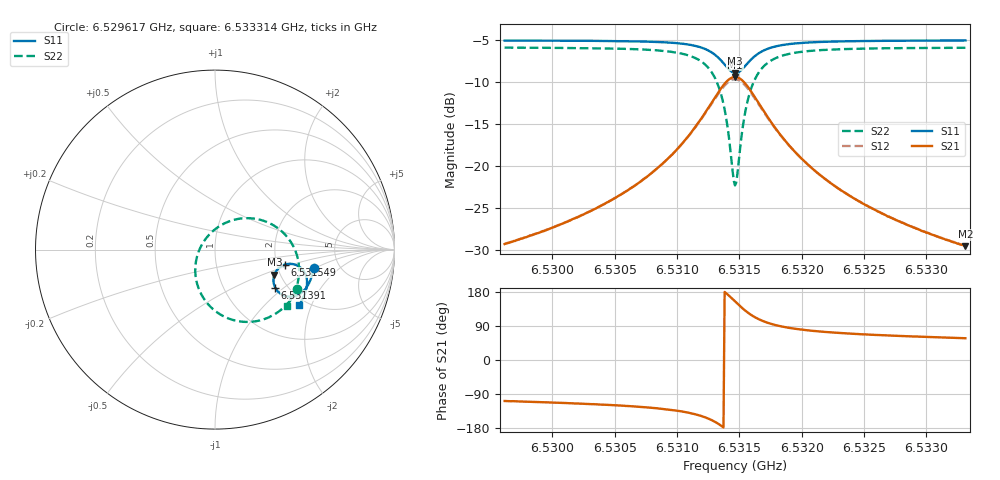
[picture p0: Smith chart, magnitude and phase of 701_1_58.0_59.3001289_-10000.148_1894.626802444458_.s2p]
#  HZ  S  RI  R  50.00
! Rohde & Schwarz Vector Network Analyzer
! Rohde-Schwarz,ZNB20-2Port,1311601062101988,3.16
! Created: UTC 3/21/2024, 1:21:46 AM
! freq[Hz]  re:S11  im:S11  re:S21  im:S21  re:S12  im:S12  re:S22  im:S22
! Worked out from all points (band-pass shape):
!   401 points, 6.529617 GHz to 6.533314 GHz, reference 50 ohm
!   highest |S21| = -9.36 dB at 6.531465 GHz (marker M1); lowest = -29.5 dB at 6.533314 GHz (marker M2)
!   |S21| within 3 dB of the highest: 6.531281 GHz to 6.53165 GHz (369.8 kHz wide, 0.00566 % of centre)
!   lowest |S11| = -8.9 dB at 6.531465 GHz (marker M3), VSWR 2.12, Z = 93.3 - j29.9 ohm
!   |S11| at or under -10 dB: nowhere
!   |S22| runs from -22.3 to -5.9 dB; largest |S21 - S12| = 0.015
!   S11 on the Smith chart (normalised r, x): 6.529617 GHz: 3.24, -0.96; 6.531391 GHz: 1.73, -0.87; 6.531549 GHz: 2.21, -0.44; 6.533314 GHz: 1.82, -1.64
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6.5296168e9  0.5511 -0.1012  -0.0108 -0.0328  -0.0115 -0.0327  0.4586 -0.2206
6.5302361e9  0.5374 -0.1536  -0.0219 -0.0463  -0.0231 -0.0458  0.4219 -0.2789
6.5305873e9  0.5236 -0.1874  -0.0367 -0.0606  -0.0382 -0.0597  0.3837 -0.3215
6.5308553e9  0.5047 -0.2178  -0.0612 -0.0785  -0.0634 -0.0765  0.3285 -0.3626
6.5310679e9  0.4741 -0.2461  -0.1063 -0.0973  -0.1093 -0.0934  0.238 -0.3973
6.5312343e9  0.4213 -0.263  -0.1888 -0.0987  -0.1906 -0.0904  0.0885 -0.3885
6.5313267e9  0.3708 -0.2496  -0.266 -0.0592  -0.2633 -0.0478  -0.0369 -0.306
6.5313637e9  0.349 -0.2316  -0.2975 -0.0222  -0.2913 -0.0105  -0.0822 -0.2376
6.5313914e9  0.3355 -0.2118  -0.3157 0.0159  -0.3066 0.0266  -0.1044 -0.1706
6.5314469e9  0.3265 -0.1585  -0.3198 0.1122  -0.3065 0.1172  -0.0918 -0.0127
6.5314654e9  0.3311 -0.1396  -0.3083 0.1446  -0.2947 0.1474  -0.0669 0.0382
6.5314838e9  0.3396 -0.1223  -0.2907 0.1743  -0.2776 0.1747  -0.0326 0.0832
6.5315208e9  0.3652 -0.0953  -0.2418 0.2191  -0.2312 0.216  0.055 0.1475
6.5315485e9  0.3883 -0.0838  -0.2001 0.2378  -0.1919 0.2335  0.1269 0.1707
6.5315763e9  0.4112 -0.0794  -0.1599 0.2448  -0.1538 0.24  0.1945 0.1749
6.5316132e9  0.4381 -0.0816  -0.1134 0.241  -0.1093 0.2367  0.2719 0.1601
6.5317057e9  0.4821 -0.1055  -0.0387 0.2042  -0.0371 0.202  0.392 0.082
6.5318443e9  0.5069 -0.145  0.00478 0.1493  0.00602 0.1484  0.4554 -0.0272
6.5320846e9  0.5128 -0.1922  0.0218 0.0948  0.023 0.0945  0.468 -0.1383
6.5323619e9  0.5063 -0.2279  0.0233 0.0645  0.0244 0.0643  0.455 -0.2061
6.5327039e9  0.4943 -0.2611  0.0215 0.0453  0.0223 0.0449  0.4345 -0.2569
6.5333139e9  0.4695 -0.3081  0.018 0.0283  0.0186 0.0281  0.3991 -0.3143
